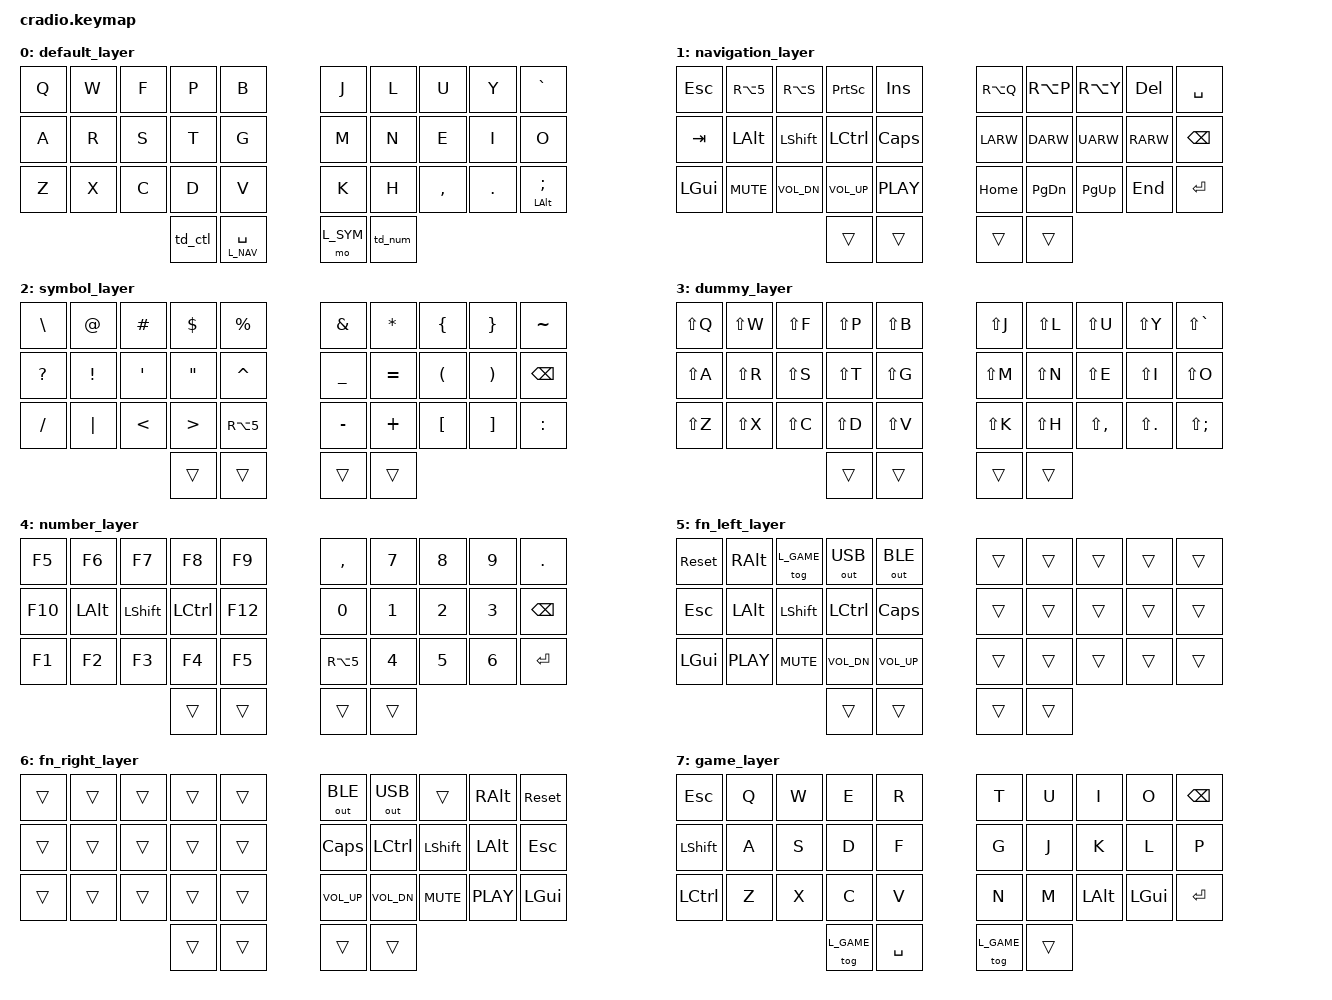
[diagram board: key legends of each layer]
// Copyright (c) 2022 The ZMK Contributors
// SPDX-License-Identifier: MIT

#include <behaviors.dtsi>
#include <dt-bindings/zmk/keys.h>
#include <dt-bindings/zmk/bt.h>


#include <dt-bindings/zmk/outputs.h>
// &out OUT_USB | &out OUT_BLE | &out OUT_TOG
// soft reset: &sys_reset
// hard reset: &bootloader


#define L_DEF     0
#define L_NAV     1 
#define L_SYM     2
#define L_NUM     4
#define L_LFN     5
#define L_RFN     6
#define L_GAME    7

/ {
    behaviors {
        ht: ht {
            label = "hold_tap";
            compatible = "zmk,behavior-hold-tap";
            #binding-cells = <2>;
            flavor = "balanced";
            tapping-term-ms = <135>;
            global-quick-tap;
            bindings = <&kp>, <&kp>;
            retro-tap;
        };

        st: st {
            label = "space_tap";
            compatible = "zmk,behavior-hold-tap";
            #binding-cells = <2>;
            flavor = "balanced";
            tapping-term-ms = <135>;
            global-quick-tap;
            bindings = <&mo>, <&kp>;
            retro-tap;
        };

        td_ctl: tap_dance_ctl {
            compatible = "zmk,behavior-tap-dance";
            #binding-cells = <0>;
            tapping-term-ms = <200>;
            bindings = <&kp LCTL>, <&mo L_LFN>;
        };

        td_num: tap_dance_num {
            compatible = "zmk,behavior-tap-dance";
            #binding-cells = <0>;
            tapping-term-ms = <200>;
            bindings = <&mo L_NUM>, <&mo L_RFN>;
        };

        // st: st {
        //     label = "hold_tap";
        //     compatible = "zmk,behavior-hold-tap";
        //     #binding-cells = <2>;
        //     flavor = "balanced";
        //     tapping-term-ms = <135>;
        //     global-quick-tap;
        //     bindings = <&sft>, <&kp>;
        //     retro-tap;
        // };
    };
};

// / {
//     macros {
//         sft: sft {
//             compatible = "zmk,behavior-macro-one-param";
//             wait-ms = <0>;
//             tap-ms = <0>;
//             #binding-cells = <1>;
//             bindings
//                 = <&macro_param_1to1>, <&macro_press &mo MACRO_PLACEHOLDER &kp LSHFT>
//                 , <&macro_pause_for_release>
//                 , <&macro_param_1to1>, <&macro_release &mo MACRO_PLACEHOLDER &kp LSHFT>
//                 ;
//         };
//     };
// };

/ {
    conditional_layers {
        compatible = "zmk,conditional-layers";
        tri_layer {
            if-layers = <1 2>;
            then-layer = <3>;
        };
    };
};

/ {
    keymap {
        compatible = "zmk,keymap";
        default_layer {   bindings = <
        //╭──────────┬──────────┬──────────┬──────────┬──────────╮   ╭──────────┬──────────┬──────────┬──────────┬──────────╮
            &kp Q      &kp W      &kp F      &kp P      &kp B          &kp J      &kp L      &kp U      &kp Y      &kp GRAVE
        //├──────────┼──────────┼──────────┼──────────┼──────────┤   ├──────────┼──────────┼──────────┼──────────┼──────────┤
            &kp A      &kp R      &kp S      &kp T      &kp G          &kp M      &kp N      &kp E      &kp I      &kp O
        //├──────────┼──────────┼──────────┼──────────┼──────────┤   ├──────────┼──────────┼──────────┼──────────┼──────────┤
            &kp Z      &kp X      &kp C      &kp D      &kp V          &kp K      &kp H      &kp COMMA  &kp DOT    &ht LALT SEMI
        //╰──────────┴──────────┴──────────┼──────────┼──────────┤   ├──────────┼──────────┼──────────┴──────────┴──────────╯
                                             &td_ctl   &st L_NAV SPACE &mo L_SYM   &td_num
        //                                 ╰──────────┴──────────╯   ╰──────────┴──────────╯                                    
        >; };

        navigation_layer {  bindings = <
        //╭──────────┬──────────┬──────────┬──────────┬──────────╮   ╭──────────┬──────────┬──────────┬──────────┬──────────╮
            &kp ESC   &kp RA(N5) &kp RA(S)  &kp PSCRN   &kp INS        &kp RA(Q)  &kp RA(P)  &kp RA(Y)  &kp DEL    &kp SPACE
        //├──────────┼──────────┼──────────┼──────────┼──────────┤   ├──────────┼──────────┼──────────┼──────────┼──────────┤
            &kp TAB   &kp LALT   &kp LSHFT  &kp LCTRL   &kp CAPS       &kp LARW   &kp DARW   &kp UARW   &kp RARW   &kp BSPC
        //├──────────┼──────────┼──────────┼──────────┼──────────┤   ├──────────┼──────────┼──────────┼──────────┼──────────┤
            &kp LGUI  &kp C_MUTE &kp C_VOL_DN &kp C_VOL_UP &kp C_PLAY  &kp HOME   &kp PG_DN  &kp PG_UP  &kp END    &kp RET
        //╰──────────┴──────────┴──────────┼──────────┼──────────┤   ├──────────┼──────────┼──────────┴──────────┴──────────╯
                                             &trans     &trans         &trans     &trans
        //                                 ╰──────────┴──────────╯   ╰──────────┴──────────╯
        >; };

        symbol_layer {   bindings = <
        //╭──────────┬──────────┬──────────┬──────────┬──────────╮   ╭──────────┬──────────┬──────────┬──────────┬──────────╮
            &kp BSLH   &kp AT     &kp HASH   &kp DLLR   &kp PRCNT      &kp AMPS   &kp STAR   &kp LBRC   &kp RBRC   &kp TILDE
        //├──────────┼──────────┼──────────┼──────────┼──────────┤   ├──────────┼──────────┼──────────┼──────────┼──────────┤
            &kp QMARK  &kp EXCL   &kp SQT    &kp DQT    &kp CARET      &kp UNDER  &kp EQUAL  &kp LPAR   &kp RPAR   &kp BSPC
        //├──────────┼──────────┼──────────┼──────────┼──────────┤   ├──────────┼──────────┼──────────┼──────────┼──────────┤
            &kp FSLH   &kp PIPE   &kp LT     &kp GT     &kp RA(N5)     &kp MINUS  &kp PLUS   &kp LBKT   &kp RBKT   &kp COLON
        //╰──────────┴──────────┴──────────┼──────────┼──────────┤   ├──────────┼──────────┼──────────┴──────────┴──────────╯
                                             &trans     &trans         &trans     &trans
        //                                 ╰──────────┴──────────╯   ╰──────────┴──────────╯
        >; };

        dummy_layer {   bindings = <
        //╭──────────┬──────────┬──────────┬──────────┬──────────╮   ╭──────────┬──────────┬──────────┬──────────┬──────────╮
            &kp LS(Q)  &kp LS(W) &kp LS(F)   &kp LS(P)  &kp LS(B)     &kp LS(J)   &kp LS(L)  &kp LS(U)  &kp LS(Y)  &kp LS(GRAVE)
        //├──────────┼──────────┼──────────┼──────────┼──────────┤   ├──────────┼──────────┼──────────┼──────────┼──────────┤
            &kp LS(A)  &kp LS(R) &kp LS(S)   &kp LS(T)  &kp LS(G)     &kp LS(M)   &kp LS(N)  &kp LS(E)  &kp LS(I)  &kp LS(O)
        //├──────────┼──────────┼──────────┼──────────┼──────────┤   ├──────────┼──────────┼──────────┼──────────┼──────────┤
            &kp LS(Z)  &kp LS(X) &kp LS(C)   &kp LS(D)  &kp LS(V)     &kp LS(K)   &kp LS(H)  &kp LS(COMMA) &kp LS(DOT) &kp LS(SEMI)
        //╰──────────┴──────────┴──────────┼──────────┼──────────┤   ├──────────┼──────────┼──────────┴──────────┴──────────╯
                                             &trans     &trans         &trans     &trans
        //                                 ╰──────────┴──────────╯   ╰──────────┴──────────╯                                    
        >; };

        number_layer {   bindings = <
        //╭──────────┬──────────┬──────────┬──────────┬──────────╮   ╭───────────┬───────────┬───────────┬───────────┬───────────╮
            &kp F5     &kp F6     &kp F7     &kp F8     &kp F9         &kp COMMA   &kp N7      &kp N8      &kp N9      &kp DOT
        //├──────────┼──────────┼──────────┼──────────┼──────────┤   ├───────────┼───────────┼───────────┼───────────┼───────────┤
            &kp F10    &kp LALT   &kp LSHFT  &kp LCTRL  &kp F12        &kp N0      &kp N1      &kp N2      &kp N3      &kp BSPC
        //├──────────┼──────────┼──────────┼──────────┼──────────┤   ├───────────┼───────────┼───────────┼───────────┼───────────┤
            &kp F1     &kp F2     &kp F3     &kp F4     &kp F5         &kp RA(N5)  &kp N4      &kp N5      &kp N6      &kp RET
        //╰──────────┴──────────┴──────────┼──────────┼──────────┤   ├───────────┼───────────┼───────────┴───────────┴───────────╯
                                             &trans     &trans         &trans      &trans
        //                                 ╰──────────┴──────────╯   ╰───────────┴───────────╯
        >; };

        fn_left_layer {   bindings = <
        //╭──────────┬──────────┬──────────┬──────────┬──────────╮   ╭───────────┬───────────┬───────────┬───────────┬───────────╮
          &sys_reset  &kp RALT  &tog L_GAME &out OUT_USB &out OUT_BLE  &trans     &trans      &trans      &trans      &trans
        //├──────────┼──────────┼──────────┼──────────┼──────────┤   ├───────────┼───────────┼───────────┼───────────┼───────────┤
            &kp ESC  &kp LALT   &kp LSHFT  &kp LCTRL   &kp CAPS       &trans     &trans      &trans      &trans      &trans
        //├──────────┼──────────┼──────────┼──────────┼──────────┤   ├───────────┼───────────┼───────────┼───────────┼───────────┤
            &kp LGUI   &kp C_PLAY &kp C_MUTE &kp C_VOL_DN &kp C_VOL_UP  &trans     &trans      &trans      &trans      &trans
        //╰──────────┴──────────┴──────────┼──────────┼──────────┤   ├───────────┼───────────┼───────────┴───────────┴───────────╯
                                             &trans     &trans         &trans      &trans
        //                                 ╰──────────┴──────────╯   ╰───────────┴───────────╯
        >; };

        fn_right_layer {   bindings = <
        //╭──────────┬──────────┬──────────┬──────────┬──────────╮   ╭───────────┬───────────┬───────────┬───────────┬───────────╮
            &trans     &trans     &trans     &trans     &trans       &out OUT_BLE &out OUT_USB &trans      &kp RALT   &sys_reset
        //├──────────┼──────────┼──────────┼──────────┼──────────┤   ├───────────┼───────────┼───────────┼───────────┼───────────┤
            &trans     &trans     &trans     &trans     &trans       &kp CAPS     &kp LCTRL   &kp LSHFT    &kp LALT    &kp ESC               
        //├──────────┼──────────┼──────────┼──────────┼──────────┤   ├───────────┼───────────┼───────────┼───────────┼───────────┤
            &trans     &trans     &trans     &trans     &trans       &kp C_VOL_UP &kp C_VOL_DN &kp C_MUTE  &kp C_PLAY  &kp LGUI   
        //╰──────────┴──────────┴──────────┼──────────┼──────────┤   ├───────────┼───────────┼───────────┴───────────┴───────────╯
                                             &trans     &trans         &trans      &trans
        //                                 ╰──────────┴──────────╯   ╰───────────┴───────────╯
        >; };

        game_layer {   bindings = <
        //╭──────────┬──────────┬──────────┬──────────┬──────────╮   ╭──────────┬──────────┬──────────┬──────────┬──────────╮
           &kp ESC    &kp Q      &kp W      &kp E      &kp R          &kp T      &kp U      &kp I      &kp O      &kp BSPC
        //├──────────┼──────────┼──────────┼──────────┼──────────┤   ├──────────┼──────────┼──────────┼──────────┼──────────┤
           &kp LSHFT  &kp A      &kp S      &kp D      &kp F          &kp G      &kp J      &kp K      &kp L      &kp P
        //├──────────┼──────────┼──────────┼──────────┼──────────┤   ├──────────┼──────────┼──────────┼──────────┼──────────┤
           &kp LCTRL  &kp Z      &kp X      &kp C      &kp V          &kp N      &kp M      &kp LALT   &kp LGUI   &kp RET
        //╰──────────┴──────────┴──────────┼──────────┼──────────┤   ├──────────┼──────────┼──────────┴──────────┴──────────╯
                                            &tog L_GAME &kp SPACE     &tog L_GAME &trans
        //                                 ╰──────────┴──────────╯   ╰──────────┴──────────╯
        >; };
    };
};
